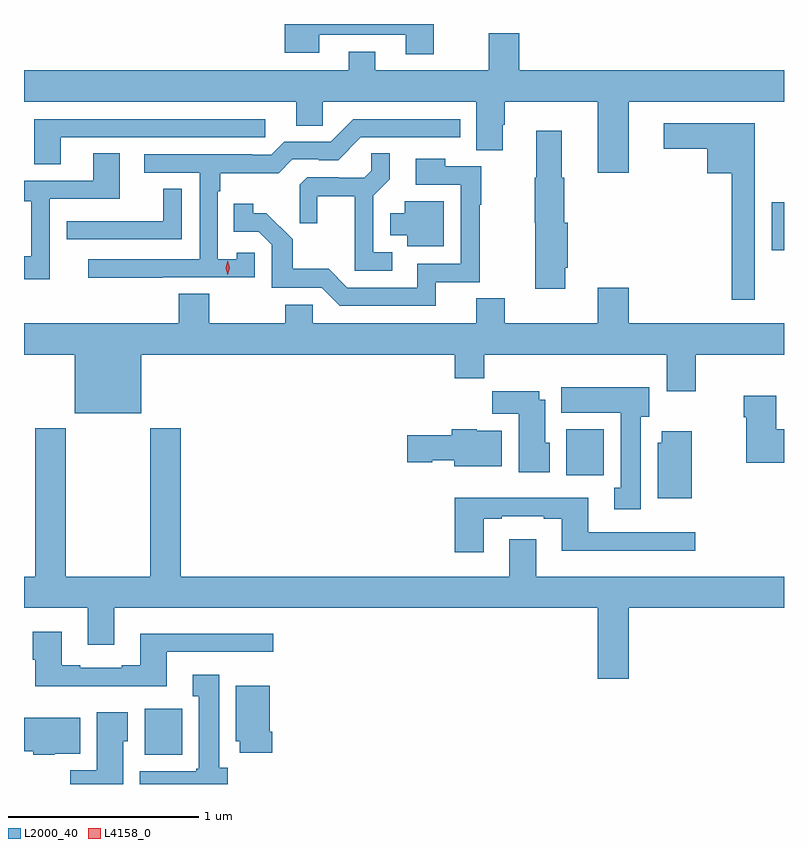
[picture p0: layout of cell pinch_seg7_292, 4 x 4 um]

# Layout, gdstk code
import gdstk
lib = gdstk.Library(unit=1e-6, precision=1e-09)
def R(c, l, rs):  # rectangles x0, y0, x1, y1
    for r in rs: c.add(gdstk.rectangle(r[:2], r[2:], *l))
def P(c, l, *ps):  # polygons
    for p in ps: c.add(gdstk.Polygon(p, *l))
L2000_40 = (2000, 40)
L4158_0 = (4158, 0)

pinch_seg7_292 = lib.new_cell('pinch_seg7_292')
R(pinch_seg7_292, L2000_40, [(558.227,1067.774,558.424,1068.016), (560.447,1069.244,560.644,1069.486), (561.527,1070.429,561.592,1070.683)])
P(pinch_seg7_292, L2000_40, [(559.749,1071.62),(558.965,1071.62),(558.965,1071.47),(559.147,1071.47),(559.147,1071.564),(559.601,1071.564),(559.601,1071.462),(559.749,1071.462)],
  [(560.776,1071.212),(561.592,1071.212),(561.592,1071.376),(560.198,1071.376),(560.198,1071.571),(560.038,1071.571),(560.038,1071.376),(559.441,1071.376),(559.441,1071.475),(559.301,1071.475),(559.301,1071.376),(557.592,1071.376),(557.592,1071.212),(559.025,1071.212),(559.025,1071.085),(559.164,1071.085),(559.164,1071.212),(559.973,1071.212),(559.973,1070.956),(560.113,1070.956),(560.113,1071.09),(560.121,1071.09),(560.121,1071.212),(560.612,1071.212),(560.612,1070.838),(560.776,1070.838)],
  [(557.785,1071.024),(558.862,1071.024),(558.862,1071.12),(557.645,1071.12),(557.645,1070.881),(557.785,1070.881)],
  [(558.323,1070.286),(558.807,1070.286),(558.807,1070.415),(558.711,1070.415),(558.711,1070.383),(558.612,1070.383),(558.612,1070.741),(558.625,1070.741),(558.625,1070.834),(558.932,1070.834),(559.005,1070.907),(559.144,1070.907),(559.144,1070.904),(559.245,1070.904),(559.365,1071.024),(559.888,1071.024),(559.888,1071.12),(559.326,1071.12),(559.206,1071),(558.963,1071),(558.894,1070.931),(558.794,1070.931),(558.794,1070.934),(558.225,1070.934),(558.225,1070.838),(558.516,1070.838),(558.516,1070.382),(557.931,1070.382),(557.931,1070.284),(558.323,1070.284)],
  [(561.439,1071.097),(560.958,1071.097),(560.958,1070.963),(561.188,1070.963),(561.188,1070.834),(561.318,1070.834),(561.318,1070.169),(561.439,1070.169)],
  [(560.44,1070.338),(560.453,1070.338),(560.453,1070.574),(560.435,1070.574),(560.435,1070.81),(560.422,1070.81),(560.422,1071.058),(560.288,1071.058),(560.288,1070.81),(560.281,1070.81),(560.281,1070.574),(560.282,1070.574),(560.282,1070.226),(560.44,1070.226)],
  [(557.727,1070.7),(558.097,1070.7),(558.097,1070.939),(557.957,1070.939),(557.957,1070.796),(557.592,1070.796),(557.592,1070.688),(557.63,1070.688),(557.63,1070.397),(557.592,1070.397),(557.592,1070.277),(557.727,1070.277)],
  [(559.531,1070.418),(559.431,1070.418),(559.431,1070.717),(559.517,1070.803),(559.517,1070.939),(559.419,1070.939),(559.419,1070.848),(559.382,1070.811),(559.248,1070.811),(559.248,1070.814),(559.083,1070.814),(559.042,1070.773),(559.042,1070.571),(559.136,1070.571),(559.136,1070.714),(559.334,1070.714),(559.334,1070.322),(559.531,1070.322)],
  [(559.76,1070.262),(559.991,1070.262),(559.991,1070.668),(559.999,1070.668),(559.999,1070.871),(559.809,1070.871),(559.809,1070.911),(559.653,1070.911),(559.653,1070.775),(559.89,1070.775),(559.89,1070.358),(559.661,1070.358),(559.661,1070.232),(559.293,1070.232),(559.195,1070.331),(559.006,1070.331),(559.006,1070.486),(558.868,1070.624),(558.798,1070.624),(558.798,1070.674),(558.697,1070.674),(558.697,1070.526),(558.828,1070.526),(558.897,1070.457),(558.897,1070.232),(559.158,1070.232),(559.254,1070.136),(559.76,1070.136)],
  [(558.423,1070.753),(558.325,1070.753),(558.325,1070.583),(557.929,1070.583),(557.929,1070.582),(557.817,1070.582),(557.817,1070.487),(558.423,1070.487)],
  [(559.801,1070.686),(559.595,1070.686),(559.595,1070.623),(559.52,1070.623),(559.52,1070.507),(559.61,1070.507),(559.61,1070.45),(559.801,1070.45)],
  [(559.113,1070.142),(558.967,1070.142),(558.967,1070.044),(558.567,1070.044),(558.567,1070.201),(558.407,1070.201),(558.407,1070.044),(557.592,1070.044),(557.592,1069.88),(557.858,1069.88),(557.858,1069.571),(558.208,1069.571),(558.208,1069.88),(559.859,1069.88),(559.859,1069.756),(560.015,1069.756),(560.015,1069.88),(560.975,1069.88),(560.975,1069.686),(561.128,1069.686),(561.128,1069.88),(561.592,1069.88),(561.592,1070.044),(560.776,1070.044),(560.776,1070.233),(560.612,1070.233),(560.612,1070.044),(560.121,1070.044),(560.121,1070.177),(559.973,1070.177),(559.973,1070.044),(559.113,1070.044)],
  [(560.839,1069.554),(560.884,1069.554),(560.884,1069.708),(560.42,1069.708),(560.42,1069.574),(560.732,1069.574),(560.732,1069.178),(560.699,1069.178),(560.699,1069.065),(560.839,1069.065)],
  [(560.359,1069.416),(560.335,1069.416),(560.335,1069.642),(560.305,1069.642),(560.305,1069.687),(560.056,1069.687),(560.056,1069.568),(560.195,1069.568),(560.195,1069.262),(560.359,1069.262)],
  [(561.592,1069.486),(561.55,1069.486),(561.55,1069.663),(561.38,1069.663),(561.38,1069.55),(561.392,1069.55),(561.392,1069.31),(561.592,1069.31)],
  [(560.776,1068.548),(561.592,1068.548),(561.592,1068.712),(560.287,1068.712),(560.287,1068.907),(560.147,1068.907),(560.147,1068.712),(558.416,1068.712),(558.416,1069.492),(558.256,1069.492),(558.256,1068.712),(557.811,1068.712),(557.811,1069.492),(557.651,1069.492),(557.651,1068.712),(557.592,1068.712),(557.592,1068.548),(557.927,1068.548),(557.927,1068.354),(558.067,1068.354),(558.067,1068.548),(560.612,1068.548),(560.612,1068.174),(560.776,1068.174)],
  [(560.107,1069.48),(559.974,1069.48),(559.974,1069.486),(559.844,1069.486),(559.844,1069.455),(559.608,1069.455),(559.608,1069.313),(559.74,1069.313),(559.74,1069.325),(559.856,1069.325),(559.856,1069.292),(560.107,1069.292)],
  [(561.106,1069.477),(560.948,1069.477),(560.948,1069.416),(560.927,1069.416),(560.927,1069.124),(561.106,1069.124)],
  [(560.011,1069.017),(560.107,1069.017),(560.107,1069.029),(560.327,1069.029),(560.327,1069.017),(560.423,1069.017),(560.423,1068.848),(561.124,1068.848),(561.124,1068.945),(560.563,1068.945),(560.563,1069.126),(559.859,1069.126),(559.859,1068.84),(560.011,1068.84)],
  [(558.343,1068.315),(558.904,1068.315),(558.904,1068.412),(558.203,1068.412),(558.203,1068.244),(558.107,1068.244),(558.107,1068.231),(557.887,1068.231),(557.887,1068.244),(557.791,1068.244),(557.791,1068.421),(557.639,1068.421),(557.639,1068.273),(557.651,1068.273),(557.651,1068.134),(558.343,1068.134)],
  [(558.664,1067.706),(558.619,1067.706),(558.619,1068.196),(558.479,1068.196),(558.479,1068.083),(558.512,1068.083),(558.512,1067.7),(558.499,1067.7),(558.499,1067.686),(558.2,1067.686),(558.2,1067.62),(558.664,1067.62)],
  [(558.899,1067.896),(558.886,1067.896),(558.886,1068.136),(558.707,1068.136),(558.707,1067.844),(558.728,1067.844),(558.728,1067.784),(558.899,1067.784)],
  [(558.115,1067.844),(558.139,1067.844),(558.139,1067.998),(557.975,1067.998),(557.975,1067.692),(557.836,1067.692),(557.836,1067.62),(558.115,1067.62)],
  [(557.754,1067.78),(557.887,1067.78),(557.887,1067.968),(557.592,1067.968),(557.592,1067.792),(557.64,1067.792),(557.64,1067.774),(557.754,1067.774)])
P(pinch_seg7_292, L4158_0, [(558.664,1070.301),(558.664,1070.301),(558.654,1070.337),(558.664,1070.373),(558.664,1070.373),(558.664,1070.373),(558.674,1070.337),(558.664,1070.301)])

lib.write_gds('pinch_seg7_292.gds')
